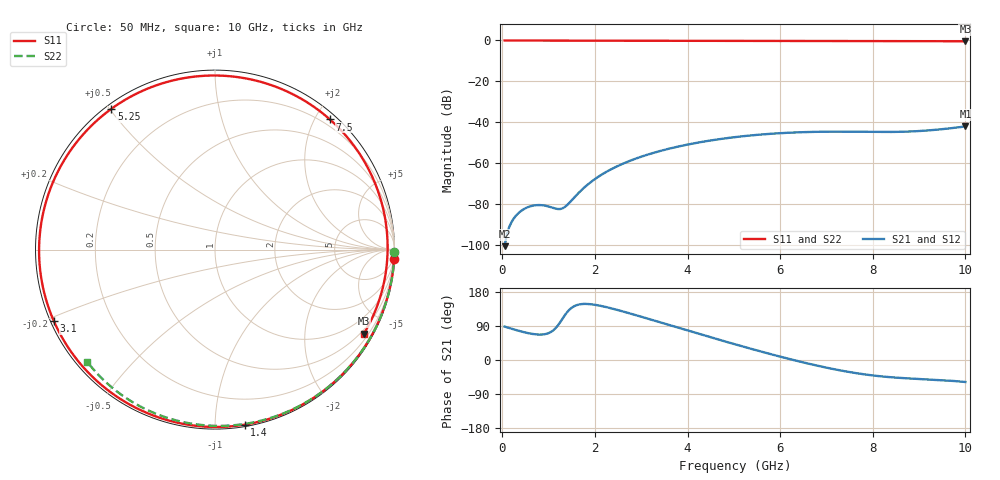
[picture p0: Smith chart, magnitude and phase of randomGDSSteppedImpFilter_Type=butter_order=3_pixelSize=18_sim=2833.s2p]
! freq	dB(S11)	phase(S11)	dB(S12)	phase(S12)
!  dB(S21)	phase(S21)	dB(S22)	phase(S22)
!S-par simulation data
#  GHz  S  DB  R 50
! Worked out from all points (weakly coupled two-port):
!   200 points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, 50 MHz to 10 GHz, reference 50 ohm
!   highest |S21| = -42.13 dB at 10 GHz (marker M1); lowest = -100.8 dB at 50 MHz (marker M2)
!   lowest |S11| = -0.4 dB at 10 GHz (marker M3), VSWR 41.38, Z = 18.5 - j188 ohm
!   |S11| at or under -10 dB: nowhere
!   |S22| runs from -0.5 to 0.0 dB; largest |S21 - S12| = 0
!   S11 on the Smith chart (normalised r, x): 50 MHz: 0, -37; 1.4 GHz: 0.01, -1.18; 3.1 GHz: 0.01, -0.21; 5.25 GHz: 0.02, +0.51; 7.5 GHz: 0.10, +2.21; 10 GHz: 0.37, -3.76
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0.05  -0.00 -3.1  -100.78 88.1  -100.78 88.1  -0.00 -0.8
0.4  -0.04 -24.2  -83.60 75.6  -83.60 75.6  -0.01 -6.4
0.8  -0.06 -47.7  -80.64 67.1  -80.64 67.1  -0.02 -12.8
1.1  -0.08 -64.5  -82.05 78.2  -82.05 78.2  -0.02 -17.5
1.4  -0.09 -80.4  -80.63 126.3  -80.63 126.3  -0.03 -22.2
1.45  -0.10 -83.0  -79.49 132.9  -79.49 132.9  -0.03 -23.0
1.75  -0.11 -98.0  -72.45 147.9  -72.45 147.9  -0.04 -27.7
2  -0.12 -109.8  -67.90 145.7  -67.90 145.7  -0.04 -31.6
2.3  -0.13 -123.3  -63.71 138.0  -63.71 138.0  -0.05 -36.2
2.7  -0.14 -140.2  -59.47 124.8  -59.47 124.8  -0.05 -42.2
3.1  -0.15 -156.2  -56.20 110.6  -56.20 110.6  -0.06 -48.2
3.4  -0.16 -167.7  -54.20 99.7  -54.20 99.7  -0.07 -52.7
3.8  -0.18 177.5  -51.97 85.1  -51.97 85.1  -0.08 -58.5
4.2  -0.19 163.2  -50.14 70.7  -50.14 70.7  -0.09 -64.2
5.05  -0.22 133.3  -47.29 40.6  -47.29 40.6  -0.12 -76.1
5.25  -0.23 126.4  -46.79 33.7  -46.79 33.7  -0.12 -78.9
6  -0.26 100.3  -45.42 8.9  -45.42 8.9  -0.16 -88.9
6.7  -0.27 76.0  -44.80 -12.1  -44.80 -12.1  -0.19 -98.1
7.5  -0.29 48.6  -44.71 -31.9  -44.71 -31.9  -0.24 -108.2
8.35  -0.31 20.3  -44.83 -45.1  -44.83 -45.1  -0.30 -118.7
9.15  -0.35 -4.8  -44.16 -50.9  -44.16 -50.9  -0.38 -128.5
10  -0.42 -29.5  -42.13 -58.1  -42.13 -58.1  -0.47 -138.7
